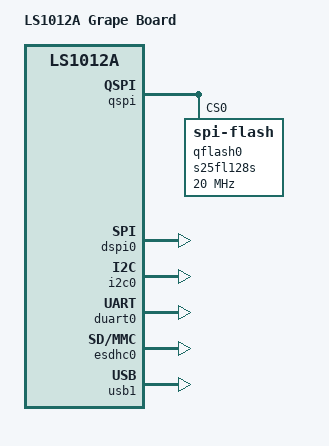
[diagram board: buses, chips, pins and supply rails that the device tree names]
/*
 * Copyright 2017 Scalys B.V.
 * opensource@scalys.com
 *
 * SPDX-License-Identifier:	GPL-2.0+
 */

/include/ "fsl-ls1012a.dtsi"

/ {
	model = "LS1012A Grape Board";
	aliases {
		spi0 = &qspi;
		spi1 = &dspi0;
	};
};

&qspi {
	bus-num = <0>;
	status = "okay";

	qflash0: s25fl128s@0 {
		#address-cells = <1>;
		#size-cells = <1>;
		compatible = "spi-flash";
		spi-max-frequency = <20000000>;
		reg = <0>;
	};
};

&dspi0 {
	bus-num = <0>;
	status = "okay";
};

&i2c0 {
	status = "okay";
};

&i2c1 {
	status = "disabled";
};

&duart0 {
	status = "okay";
};

&duart1 {
	status = "disabled";
};

&esdhc0 {
	status = "okay";
};

&esdhc1 {
	status = "disabled";
};

&usb0 {
	status = "disabled";
};

&usb1 {
	status = "okay";
};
